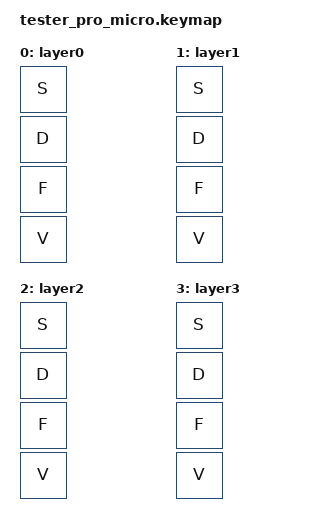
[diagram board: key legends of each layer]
#include <behaviors.dtsi>

/ {
    keymap {
        compatible = "zmk,keymap";

        layer0 {
            bindings = <&kp S>,  /* GPIO 3 → Sends 'S' */
                       <&kp D>,  /* GPIO 4 → Sends 'D' */
                       <&kp F>,  /* GPIO 5 → Sends 'F' */
                       <&kp V>;  /* GPIO 6 → Sends 'V' */
                       <&kp N>,  /* GPIO 26 → Sends 'N' */
                       <&kp J>,  /* GPIO 27 → Sends 'J' */
                       <&kp K>,  /* GPIO 28 → Sends 'K' */
                       <&kp L>;  /* GPIO 29 → Sends 'L' */
        };
        layer1 {
            bindings = <&kp S>,  /* GPIO 3 → Sends 'S' */
                       <&kp D>,  /* GPIO 4 → Sends 'D' */
                       <&kp F>,  /* GPIO 5 → Sends 'F' */
                       <&kp V>;  /* GPIO 6 → Sends 'V' */
                       <&kp N>,  /* GPIO 26 → Sends 'N' */
                       <&kp J>,  /* GPIO 27 → Sends 'J' */
                       <&kp K>,  /* GPIO 28 → Sends 'K' */
                       <&kp L>;  /* GPIO 29 → Sends 'L' */
        };
        layer2 {
            bindings = <&kp S>,  /* GPIO 3 → Sends 'S' */
                       <&kp D>,  /* GPIO 4 → Sends 'D' */
                       <&kp F>,  /* GPIO 5 → Sends 'F' */
                       <&kp V>;  /* GPIO 6 → Sends 'V' */
                       <&kp N>,  /* GPIO 26 → Sends 'N' */
                       <&kp J>,  /* GPIO 27 → Sends 'J' */
                       <&kp K>,  /* GPIO 28 → Sends 'K' */
                       <&kp L>;  /* GPIO 29 → Sends 'L' */
        };
        layer3 {
            bindings = <&kp S>,  /* GPIO 3 → Sends 'S' */
                       <&kp D>,  /* GPIO 4 → Sends 'D' */
                       <&kp F>,  /* GPIO 5 → Sends 'F' */
                       <&kp V>;  /* GPIO 6 → Sends 'V' */
                       <&kp N>,  /* GPIO 26 → Sends 'N' */
                       <&kp J>,  /* GPIO 27 → Sends 'J' */
                       <&kp K>,  /* GPIO 28 → Sends 'K' */
                       <&kp L>;  /* GPIO 29 → Sends 'L' */
        };
    };
};
